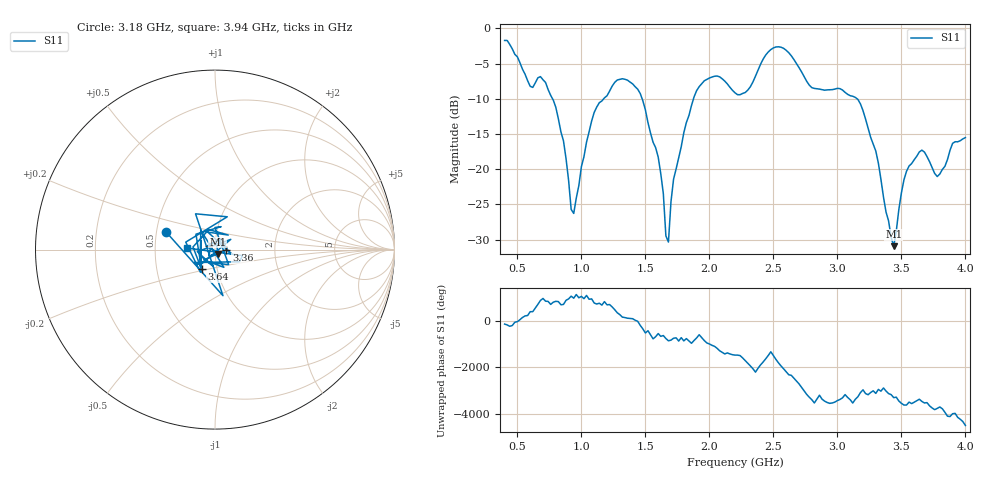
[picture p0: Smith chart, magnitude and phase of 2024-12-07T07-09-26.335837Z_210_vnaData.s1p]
!Created with skrf (http://scikit-rf.org).
# Hz S RI R 50.0
!freq ReS11 ImS11
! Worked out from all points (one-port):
!   181 points, 400 MHz to 4 GHz, reference 50 ohm
!   lowest |S11| = -30.9 dB at 3.44 GHz (marker M1), VSWR 1.06, Z = 51.5 - j2.45 ohm
!   |S11| at or under -10 dB: 774.4 MHz to 1.174 GHz (399.9 MHz wide, 41 % of centre); 1.474 GHz to 1.876 GHz (401.5 MHz wide, 24 % of centre); 3.154 GHz to end of sweep
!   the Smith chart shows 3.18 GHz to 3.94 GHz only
!   S11 on the Smith chart (normalised r, x): 3.18 GHz: 0.56, +0.12; 3.36 GHz: 1.14, -0.00; 3.64 GHz: 0.84, -0.19; 3.94 GHz: 0.73, +0.01
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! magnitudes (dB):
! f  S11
! 400 MHz  -1.7
! 600 MHz  -8.2
! 720 MHz  -7.7
! 860 MHz  -16.0
! 940 MHz  -26.3
! 1.1 GHz  -11.9
! 1.3 GHz  -7.2
! 1.48 GHz  -10.3
! 1.6 GHz  -18.3
! 1.64 GHz  -23.4
! 1.66 GHz  -29.5
! 1.68 GHz  -30.3
! 1.72 GHz  -21.4
! 1.76 GHz  -18.4
! 1.92 GHz  -8.3
! 2.2 GHz  -9.2
! 2.5 GHz  -2.8
! 2.66 GHz  -4.4
! 2.8 GHz  -8.4
! 3.1 GHz  -9.6
! 3.18 GHz  -10.7
! 3.36 GHz  -23.9
! 3.44 GHz  -30.9
! 3.56 GHz  -19.5
! 3.64 GHz  -17.6
! 3.78 GHz  -21.0
! 3.94 GHz  -16.1
! 4 GHz  -15.5
